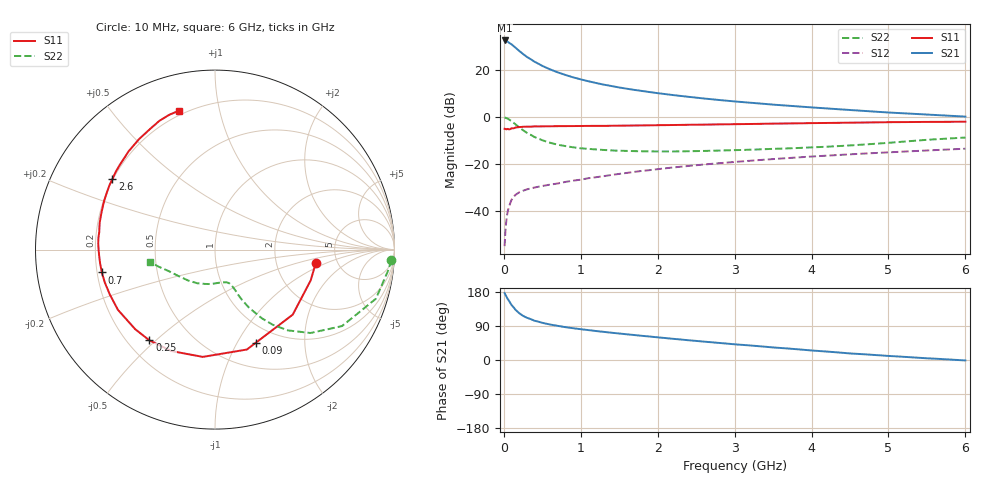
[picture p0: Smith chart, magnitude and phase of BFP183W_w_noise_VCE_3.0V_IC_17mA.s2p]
! Infineon Technologies  Discrete & RF Semiconductors
! BFP183W
! VCE =  3.0 V,  IC =  17 mA
! Common Emitter S-Parameters:  Jan 2017
# GHz  S  MA  R  50
!  f  S11  S21  S12  S22
! GHz  MAG  ANG  MAG  ANG  MAG  ANG  MAG  ANG
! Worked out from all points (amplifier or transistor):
!   77 points, 10 MHz to 6 GHz, reference 50 ohm
!   highest |S21| = 32.6 dB at 10 MHz (marker M1)
!   |S21| within 3 dB of that: start of sweep to 149.4 MHz
!   unconditionally stable (mu >= 1): 1.22 GHz to 3.775 GHz
!   at 130 MHz: K = 0.21, MSG = 32.0 dB, |S12| = -33.9 dB
!   at 2.2 GHz: K = 1.07, MAG = 13.8 dB, |S12| = -21.4 dB
!   at 6 GHz: K = 0.87, MSG = 6.8 dB, |S12| = -13.4 dB
!   lowest NFmin = 1.12 dB at 450 MHz
!   S11 on the Smith chart (normalised r, x): 10 MHz: 3.43, -0.77; 90 MHz: 0.79, -1.20; 250 MHz: 0.29, -0.48; 700 MHz: 0.22, -0.10; 2.6 GHz: 0.20, +0.30; 6 GHz: 0.18, +0.76
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0.01  0.5663 -7.7  42.85 176.8  0.0018 86.8  0.9847 -3.4
0.02  0.5601 -17.8  42.58 172.2  0.0037 90.8  0.9717 -6.9
0.05  0.5647 -39.9  40.41 161.1  0.0099 77.5  0.9372 -17.0
0.09  0.5661 -66.2  36.25 148.5  0.0159 65.6  0.8442 -27.9
0.1  0.5844 -72.3  35.51 145.0  0.0174 63.9  0.8264 -31.0
0.15  0.6016 -96.5  30.28 132.8  0.0222 53.9  0.7068 -41.1
0.2  0.6153 -113.3  25.68 123.5  0.0252 48.8  0.6068 -47.9
0.25  0.6239 -125.9  22.06 116.5  0.0272 45.2  0.5271 -52.5
0.3  0.6279 -135.1  19.14 111.4  0.0291 43.9  0.4635 -55.7
0.4  0.6366 -148.2  15.09 103.5  0.0319 43.4  0.3769 -59.6
0.5  0.6372 -157.0  12.33 98.1  0.0343 43.7  0.3229 -61.6
0.6  0.6406 -163.4  10.42 93.7  0.0367 44.5  0.2858 -62.8
0.7  0.6433 -168.6  8.983 90.1  0.0388 46.1  0.2595 -63.3
0.9  0.6463 -177.0  7.04 83.9  0.0446 49.4  0.2287 -64.6
1.1  0.6517 176.9  5.805 78.9  0.0503 51.9  0.2115 -66.0
1.5  0.6595 167.0  4.28 69.9  0.0621 54.3  0.193 -70.8
2.1  0.6773 154.3  3.093 57.9  0.0817 55.6  0.1862 -82.6
2.6  0.694 145.5  2.497 48.5  0.0983 54.8  0.1912 -95.3
3.1  0.7121 137.3  2.095 39.9  0.1147 53.0  0.2006 -108.1
4.1  0.7498 123.1  1.573 23.7  0.1485 48.3  0.2311 -133.4
5.1  0.7835 112.4  1.231 9.6  0.1817 42.8  0.293 -157.0
6  0.8001 104.4  1.028 -1.2  0.2131 37.0  0.3686 -169.2
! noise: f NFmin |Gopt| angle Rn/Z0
0.45  1.12  0.17  164  -0.02
0.9  1.15  0.23  169  0.09
1.9  1.61  0.4  -165  0.08
2.4  1.84  0.44  -159  0.11
